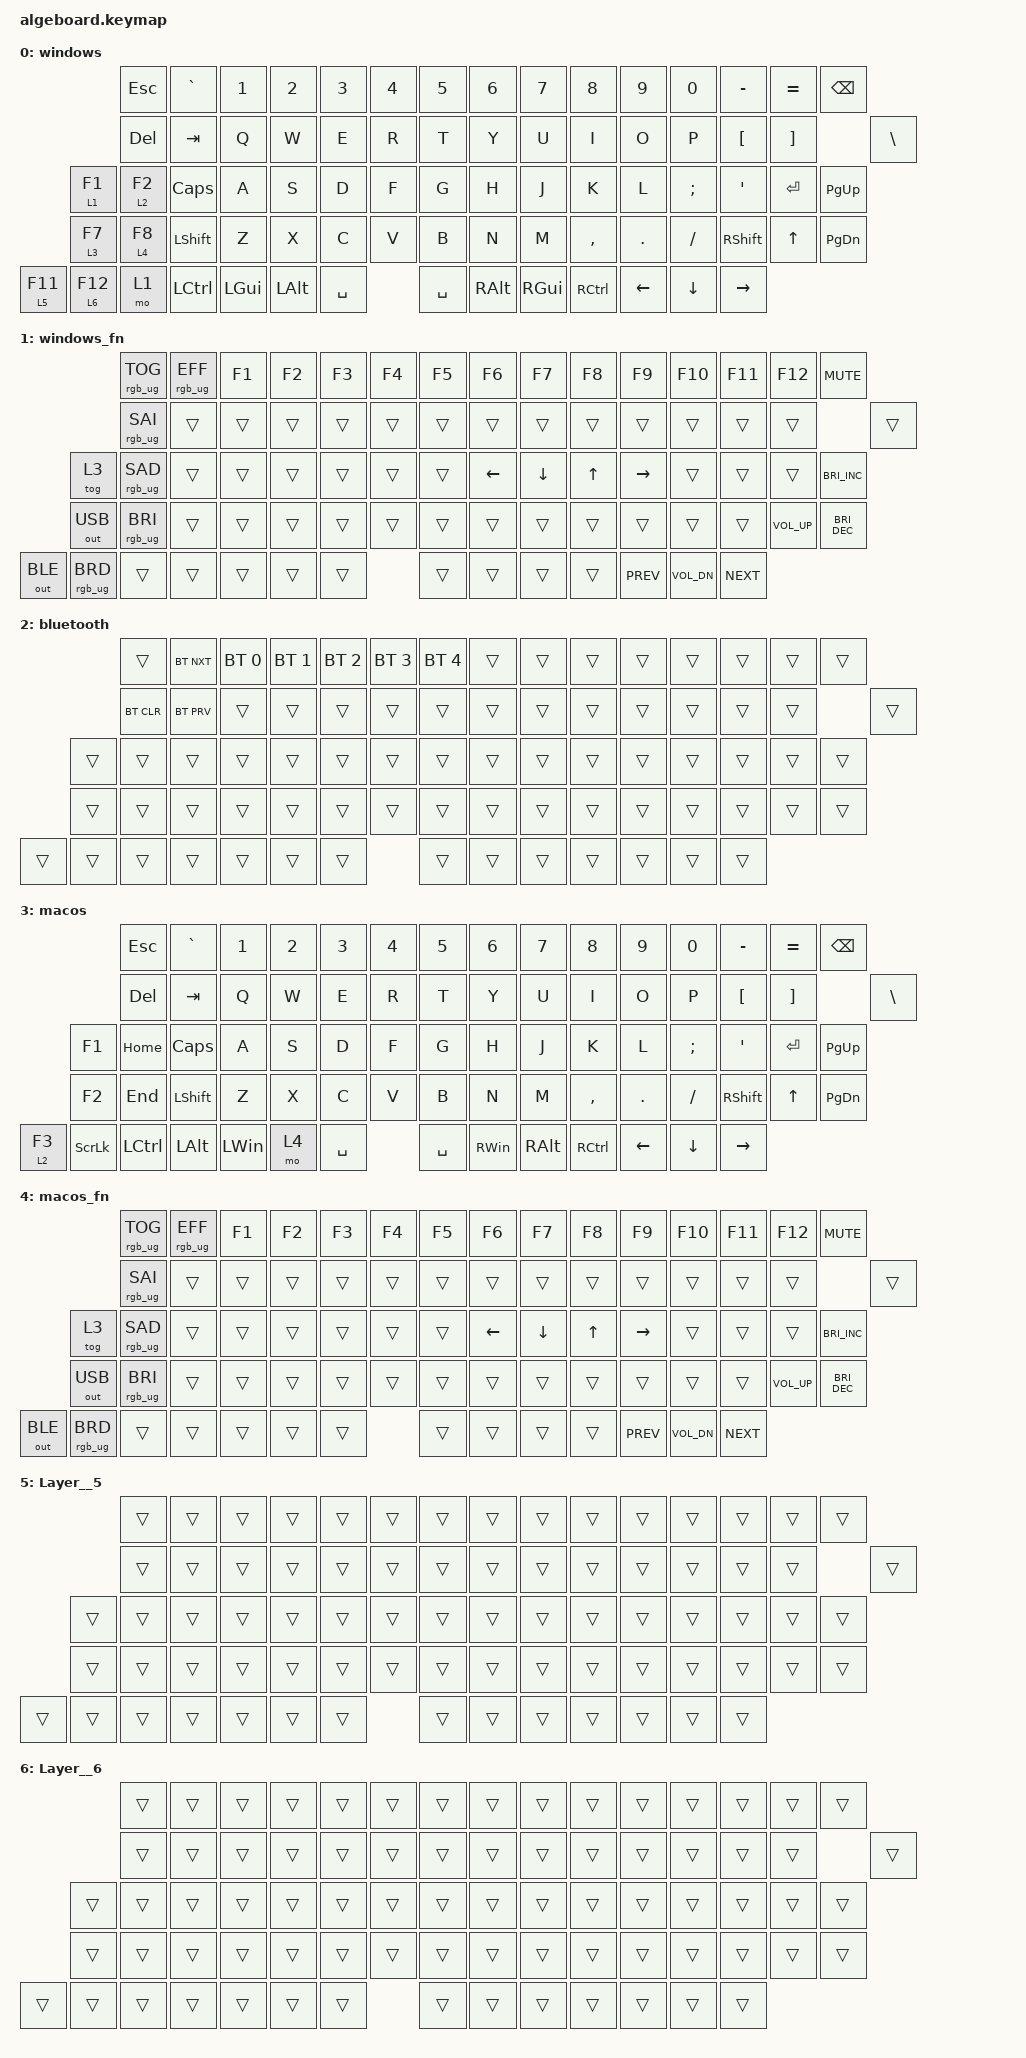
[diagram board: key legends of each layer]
/*
 * Copyright (c) 2020 The ZMK Contributors
 *
 * SPDX-License-Identifier: MIT
 */

#include <behaviors.dtsi>
#include <dt-bindings/zmk/keys.h>
#include <dt-bindings/zmk/rgb.h>
#include <dt-bindings/zmk/outputs.h>
#include <dt-bindings/zmk/bt.h>

/ {
    keymap {
        compatible = "zmk,keymap";

        windows {
            bindings = <
               &kp ESC     &kp GRAVE     &kp N1    &kp N2    &kp N3     &kp N4     &kp N5    &kp N6    &kp N7     &kp N8    &kp N9     &kp N0   &kp MINUS  &kp EQUAL  &kp BACKSPACE
            &kp DELETE       &kp TAB      &kp Q     &kp W     &kp E      &kp R      &kp T     &kp Y     &kp U      &kp I     &kp O      &kp P    &kp LBKT   &kp RBKT  &kp BACKSLASH
  &lt 1 F1    &lt 2 F2  &kp CAPSLOCK      &kp A     &kp S     &kp D      &kp F      &kp G     &kp H     &kp J      &kp K     &kp L   &kp SEMI     &kp SQT  &kp ENTER      &kp PG_UP
  &lt 3 F7    &lt 4 F8    &kp LSHIFT      &kp Z     &kp X     &kp C      &kp V      &kp B     &kp N     &kp M  &kp COMMA   &kp DOT  &kp SLASH  &kp RSHIFT     &kp UP      &kp PG_DN
 &lt 5 F11   &lt 6 F12         &mo 1  &kp LCTRL  &kp LGUI  &kp LALT  &kp SPACE  &kp SPACE  &kp RALT  &kp RGUI  &kp RCTRL  &kp LEFT   &kp DOWN   &kp RIGHT
            >;
        };

        windows_fn {
            bindings = <
               &rgb_ug RGB_TOG  &rgb_ug RGB_EFF  &kp F1  &kp F2  &kp F3  &kp F4  &kp F5    &kp F6    &kp F7  &kp F8      &kp F9       &kp F10     &kp F11       &kp F12     &kp C_MUTE
               &rgb_ug RGB_SAI           &trans  &trans  &trans  &trans  &trans  &trans    &trans    &trans  &trans      &trans        &trans      &trans        &trans         &trans
       &tog 3  &rgb_ug RGB_SAD           &trans  &trans  &trans  &trans  &trans  &trans  &kp LEFT  &kp DOWN  &kp UP   &kp RIGHT        &trans      &trans        &trans  &kp C_BRI_INC
 &out OUT_USB  &rgb_ug RGB_BRI           &trans  &trans  &trans  &trans  &trans  &trans    &trans    &trans  &trans      &trans        &trans      &trans  &kp C_VOL_UP  &kp C_BRI_DEC
 &out OUT_BLE  &rgb_ug RGB_BRD           &trans  &trans  &trans  &trans  &trans  &trans    &trans    &trans  &trans  &kp C_PREV  &kp C_VOL_DN  &kp C_NEXT
            >;
        };

        bluetooth {
            bindings = <
             &trans  &bt BT_NXT  &bt BT_SEL 0  &bt BT_SEL 1  &bt BT_SEL 2  &bt BT_SEL 3  &bt BT_SEL 4  &trans  &trans  &trans  &trans  &trans  &trans  &trans  &trans
         &bt BT_CLR  &bt BT_PRV        &trans        &trans        &trans        &trans        &trans  &trans  &trans  &trans  &trans  &trans  &trans  &trans  &trans
 &trans      &trans      &trans        &trans        &trans        &trans        &trans        &trans  &trans  &trans  &trans  &trans  &trans  &trans  &trans  &trans
 &trans      &trans      &trans        &trans        &trans        &trans        &trans        &trans  &trans  &trans  &trans  &trans  &trans  &trans  &trans  &trans
 &trans      &trans      &trans        &trans        &trans        &trans        &trans        &trans  &trans  &trans  &trans  &trans  &trans  &trans
            >;
        };

        macos {
            bindings = <
                  &kp ESC     &kp GRAVE    &kp N1    &kp N2  &kp N3     &kp N4     &kp N5    &kp N6    &kp N7     &kp N8    &kp N9     &kp N0   &kp MINUS  &kp EQUAL  &kp BACKSPACE
                  &kp DEL       &kp TAB     &kp Q     &kp W   &kp E      &kp R      &kp T     &kp Y     &kp U      &kp I     &kp O      &kp P    &kp LBKT   &kp RBKT  &kp BACKSLASH
   &kp F1        &kp HOME  &kp CAPSLOCK     &kp A     &kp S   &kp D      &kp F      &kp G     &kp H     &kp J      &kp K     &kp L   &kp SEMI     &kp SQT  &kp ENTER      &kp PG_UP
   &kp F2         &kp END    &kp LSHIFT     &kp Z     &kp X   &kp C      &kp V      &kp B     &kp N     &kp M  &kp COMMA   &kp DOT  &kp SLASH  &kp RSHIFT     &kp UP      &kp PG_DN
 &lt 2 F3  &kp SCROLLLOCK     &kp LCTRL  &kp LALT  &kp LWIN   &mo 4  &kp SPACE  &kp SPACE  &kp RWIN  &kp RALT  &kp RCTRL  &kp LEFT   &kp DOWN   &kp RIGHT
            >;
        };

        macos_fn {
            bindings = <
               &rgb_ug RGB_TOG  &rgb_ug RGB_EFF  &kp F1  &kp F2  &kp F3  &kp F4  &kp F5    &kp F6    &kp F7  &kp F8      &kp F9       &kp F10     &kp F11       &kp F12     &kp C_MUTE
               &rgb_ug RGB_SAI           &trans  &trans  &trans  &trans  &trans  &trans    &trans    &trans  &trans      &trans        &trans      &trans        &trans         &trans
       &tog 3  &rgb_ug RGB_SAD           &trans  &trans  &trans  &trans  &trans  &trans  &kp LEFT  &kp DOWN  &kp UP   &kp RIGHT        &trans      &trans        &trans  &kp C_BRI_INC
 &out OUT_USB  &rgb_ug RGB_BRI           &trans  &trans  &trans  &trans  &trans  &trans    &trans    &trans  &trans      &trans        &trans      &trans  &kp C_VOL_UP  &kp C_BRI_DEC
 &out OUT_BLE  &rgb_ug RGB_BRD           &trans  &trans  &trans  &trans  &trans  &trans    &trans    &trans  &trans  &kp C_PREV  &kp C_VOL_DN  &kp C_NEXT
            >;
        };

        Layer__5 {
            bindings = <
         &trans  &trans  &trans  &trans  &trans  &trans  &trans  &trans  &trans  &trans  &trans  &trans  &trans  &trans  &trans
         &trans  &trans  &trans  &trans  &trans  &trans  &trans  &trans  &trans  &trans  &trans  &trans  &trans  &trans  &trans
 &trans  &trans  &trans  &trans  &trans  &trans  &trans  &trans  &trans  &trans  &trans  &trans  &trans  &trans  &trans  &trans
 &trans  &trans  &trans  &trans  &trans  &trans  &trans  &trans  &trans  &trans  &trans  &trans  &trans  &trans  &trans  &trans
 &trans  &trans  &trans  &trans  &trans  &trans  &trans  &trans  &trans  &trans  &trans  &trans  &trans  &trans
            >;
        };

        Layer__6 {
            bindings = <
         &trans  &trans  &trans  &trans  &trans  &trans  &trans  &trans  &trans  &trans  &trans  &trans  &trans  &trans  &trans
         &trans  &trans  &trans  &trans  &trans  &trans  &trans  &trans  &trans  &trans  &trans  &trans  &trans  &trans  &trans
 &trans  &trans  &trans  &trans  &trans  &trans  &trans  &trans  &trans  &trans  &trans  &trans  &trans  &trans  &trans  &trans
 &trans  &trans  &trans  &trans  &trans  &trans  &trans  &trans  &trans  &trans  &trans  &trans  &trans  &trans  &trans  &trans
 &trans  &trans  &trans  &trans  &trans  &trans  &trans  &trans  &trans  &trans  &trans  &trans  &trans  &trans
            >;
        };
    };
};
